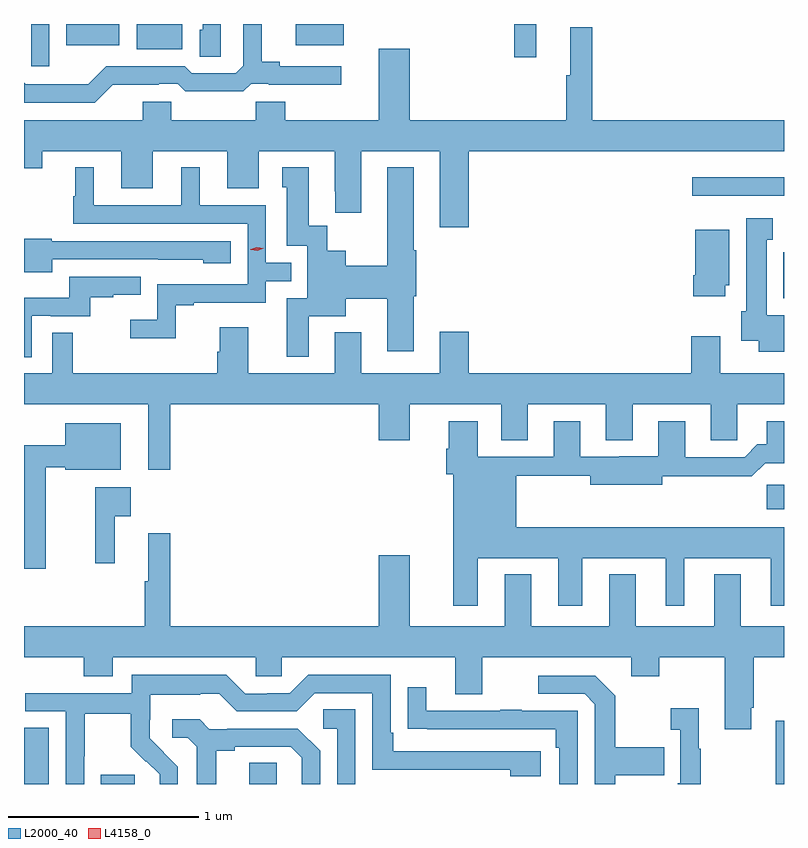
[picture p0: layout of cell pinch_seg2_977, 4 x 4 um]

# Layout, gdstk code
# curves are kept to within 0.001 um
import gdstk
lib = gdstk.Library(unit=1e-6, precision=1e-09)
def R(c, l, rs):  # rectangles x0, y0, x1, y1
    for r in rs: c.add(gdstk.rectangle(r[:2], r[2:], *l))
def P(c, l, *ps):  # polygons
    for p in ps: c.add(gdstk.Polygon(p, *l))
L2000_40 = (2000, 40)
L4158_0 = (4158, 0)

pinch_seg2_977 = lib.new_cell('pinch_seg2_977')
R(pinch_seg2_977, L2000_40, [(139.166,646.97,139.297,647.267), (139.571,646.97,139.75,647.019), (140.351,646.97,140.496,647.081), (143.122,646.97,143.166,647.302), (143.076,648.416,143.166,648.545), (143.162,649.526,143.166,649.768), (142.683,650.067,143.166,650.164), (139.203,650.748,139.299,650.97), (141.745,650.796,141.863,650.97), (139.76,650.837,139.999,650.97), (139.388,650.858,139.666,650.97), (140.597,650.858,140.848,650.97)])
P(pinch_seg2_977, L2000_40, [(140.202,650.97),(140.106,650.97),(140.106,650.94),(140.09,650.94),(140.09,650.797),(140.202,650.797)],
  [(139.634,650.651),(139.874,650.651),(139.874,650.655),(139.974,650.655),(140.014,650.616),(140.321,650.616),(140.361,650.655),(140.455,650.655),(140.455,650.651),(140.836,650.651),(140.836,650.748),(140.512,650.748),(140.512,650.771),(140.417,650.771),(140.417,650.97),(140.319,650.97),(140.319,650.751),(140.28,650.712),(140.049,650.712),(140.013,650.748),(139.599,650.748),(139.505,650.654),(139.4,650.654),(139.4,650.652),(139.176,650.652),(139.166,650.662),(139.166,650.556),(139.539,650.556)],
  [(141.506,650.3),(143.166,650.3),(143.166,650.464),(142.157,650.464),(142.157,650.953),(142.04,650.953),(142.04,650.7),(142.021,650.7),(142.021,650.464),(141.196,650.464),(141.196,650.839),(141.032,650.839),(141.032,650.464),(140.541,650.464),(140.541,650.562),(140.386,650.562),(140.386,650.464),(139.941,650.464),(139.941,650.562),(139.79,650.562),(139.79,650.464),(139.166,650.464),(139.166,650.21),(139.261,650.21),(139.261,650.3),(139.679,650.3),(139.679,650.106),(139.843,650.106),(139.843,650.3),(140.237,650.3),(140.237,650.106),(140.401,650.106),(140.401,650.3),(140.801,650.3),(140.801,650.089),(140.804,650.089),(140.804,649.977),(140.941,649.977),(140.941,650.3),(141.353,650.3),(141.353,649.899),(141.506,649.899)],
  [(140.665,649.433),(140.86,649.433),(140.86,649.525),(141.077,649.525),(141.077,649.248),(141.217,649.248),(141.217,649.536),(141.23,649.536),(141.23,649.78),(141.217,649.78),(141.217,650.215),(141.077,650.215),(141.077,649.697),(140.86,649.697),(140.86,649.777),(140.763,649.777),(140.763,649.907),(140.665,649.907),(140.665,650.215),(140.525,650.215),(140.525,650.112),(140.549,650.112),(140.549,649.803),(140.658,649.803),(140.658,649.527),(140.549,649.527),(140.549,649.218),(140.665,649.218)],
  [(139.965,649.491),(140.059,649.491),(140.059,649.503),(140.439,649.503),(140.439,649.617),(140.572,649.617),(140.572,649.713),(140.439,649.713),(140.439,650.016),(140.092,650.016),(140.092,650.215),(139.994,650.215),(139.994,650.016),(139.534,650.016),(139.534,650.215),(139.436,650.215),(139.436,650.064),(139.425,650.064),(139.425,649.92),(140.343,649.92),(140.343,649.599),(139.866,649.599),(139.866,649.414),(139.725,649.414),(139.725,649.316),(139.965,649.316)],
  [(143.166,649.438),(143.074,649.438),(143.074,649.835),(143.107,649.835),(143.107,649.948),(142.967,649.948),(142.967,649.458),(142.94,649.458),(142.94,649.304),(143.033,649.304),(143.033,649.244),(143.166,649.244)],
  [(142.858,649.596),(142.879,649.596),(142.879,649.888),(142.7,649.888),(142.7,649.648),(142.688,649.648),(142.688,649.536),(142.858,649.536)],
  [(139.315,649.731),(139.873,649.731),(139.873,649.73),(140.109,649.73),(140.109,649.712),(140.254,649.712),(140.254,649.827),(139.311,649.827),(139.311,649.84),(139.166,649.84),(139.166,649.664),(139.315,649.664)],
  [(139.206,649.434),(139.306,649.434),(139.306,649.431),(139.514,649.431),(139.514,649.533),(139.637,649.533),(139.637,649.544),(139.781,649.544),(139.781,649.641),(139.404,649.641),(139.404,649.529),(139.166,649.529),(139.166,649.217),(139.206,649.217)],
  [(141.032,648.78),(141.196,648.78),(141.196,648.968),(141.677,648.968),(141.677,648.778),(141.817,648.778),(141.817,648.968),(142.229,648.968),(142.229,648.779),(142.369,648.779),(142.369,648.968),(142.781,648.968),(142.781,648.778),(142.92,648.778),(142.92,648.968),(143.166,648.968),(143.166,649.132),(142.831,649.132),(142.831,649.327),(142.679,649.327),(142.679,649.132),(141.506,649.132),(141.506,649.351),(141.353,649.351),(141.353,649.132),(140.941,649.132),(140.941,649.348),(140.801,649.348),(140.801,649.132),(140.347,649.132),(140.347,649.375),(140.195,649.375),(140.195,649.245),(140.183,649.245),(140.183,649.132),(139.423,649.132),(139.423,649.346),(139.314,649.346),(139.314,649.132),(139.166,649.132),(139.166,648.968),(139.82,648.968),(139.82,648.624),(139.937,648.624),(139.937,648.968),(141.032,648.968)],
  [(141.553,648.158),(141.977,648.158),(141.977,647.907),(142.105,647.907),(142.105,648.158),(142.544,648.158),(142.544,647.907),(142.642,647.907),(142.642,648.158),(143.096,648.158),(143.096,647.907),(143.166,647.907),(143.166,648.322),(141.757,648.322),(141.757,648.592),(142.145,648.592),(142.145,648.545),(142.525,648.545),(142.525,648.59),(142.997,648.59),(143.066,648.659),(143.166,648.659),(143.166,648.88),(143.075,648.88),(143.075,648.757),(143.026,648.757),(142.959,648.69),(142.645,648.69),(142.645,648.88),(142.505,648.88),(142.505,648.694),(142.093,648.693),(142.093,648.88),(141.953,648.88),(141.953,648.693),(141.553,648.693),(141.553,648.88),(141.401,648.88),(141.401,648.734),(141.389,648.734),(141.389,648.6),(141.425,648.6),(141.425,647.907),(141.553,647.907)],
  [(139.28,648.638),(139.382,648.638),(139.382,648.623),(139.675,648.623),(139.675,648.868),(139.382,648.868),(139.382,648.752),(139.166,648.752),(139.166,648.102),(139.28,648.102)],
  [(139.643,648.38),(139.729,648.38),(139.729,648.532),(139.54,648.532),(139.54,648.132),(139.643,648.132)],
  [(142.993,647.371),(143.006,647.371),(143.006,647.636),(143.166,647.636),(143.166,647.8),(142.939,647.8),(142.939,648.073),(142.799,648.073),(142.799,647.8),(142.387,647.8),(142.387,648.073),(142.247,648.073),(142.247,647.8),(141.835,647.8),(141.835,648.073),(141.695,648.073),(141.695,647.8),(141.196,647.8),(141.196,648.175),(141.032,648.175),(141.032,647.8),(139.937,647.8),(139.937,648.289),(139.82,648.289),(139.82,648.036),(139.801,648.036),(139.801,647.8),(139.166,647.8),(139.166,647.636),(139.481,647.636),(139.481,647.537),(139.633,647.537),(139.633,647.636),(140.385,647.636),(140.385,647.538),(140.523,647.538),(140.523,647.636),(141.437,647.636),(141.437,647.442),(141.577,647.442),(141.577,647.636),(142.361,647.636),(142.361,647.537),(142.509,647.537),(142.509,647.636),(142.853,647.636),(142.853,647.259),(142.993,647.259)],
  [(139.482,647.116),(139.485,647.116),(139.485,647.34),(139.729,647.34),(139.729,647.165),(139.806,647.088),(139.809,647.091),(139.88,647.021),(139.88,646.97),(139.974,646.97),(139.974,647.062),(139.828,647.21),(139.828,647.307),(139.83,647.307),(139.83,647.441),(140.093,647.441),(140.093,647.445),(140.193,647.445),(140.286,647.352),(140.601,647.352),(140.697,647.448),(141,647.448),(141,647.046),(141.725,647.046),(141.725,647.012),(141.886,647.012),(141.886,647.142),(141.109,647.142),(141.109,647.239),(141.096,647.239),(141.096,647.544),(140.661,647.544),(140.565,647.448),(140.447,647.448),(140.447,647.445),(140.331,647.445),(140.231,647.545),(139.734,647.545),(139.734,647.448),(139.173,647.448),(139.173,647.352),(139.386,647.352),(139.386,646.97),(139.482,646.97)],
  [(142.279,647.015),(142.535,647.015),(142.535,647.163),(142.279,647.163),(142.279,647.435),(142.173,647.541),(141.873,647.541),(141.873,647.445),(142.116,647.445),(142.17,647.391),(142.17,646.97),(142.279,646.97)],
  [(142.08,647.355),(141.785,647.355),(141.785,647.36),(141.673,647.36),(141.673,647.355),(141.283,647.355),(141.283,647.479),(141.187,647.479),(141.187,647.26),(141.289,647.26),(141.289,647.259),(141.964,647.259),(141.964,647.162),(141.984,647.162),(141.984,646.97),(142.08,646.97)],
  [(142.729,647.155),(142.717,647.155),(142.717,647.368),(142.569,647.368),(142.569,647.255),(142.62,647.255),(142.62,646.975),(142.608,646.975),(142.608,646.97),(142.729,646.97)],
  [(140.91,647.363),(140.742,647.363),(140.742,647.262),(140.814,647.262),(140.814,646.97),(140.91,646.97)],
  [(140.179,647.144),(140.275,647.144),(140.275,647.166),(140.57,647.166),(140.627,647.109),(140.627,646.97),(140.724,646.97),(140.724,647.146),(140.608,647.262),(140.236,647.262),(140.236,647.259),(140.142,647.259),(140.09,647.311),(139.947,647.311),(139.947,647.214),(140.028,647.214),(140.075,647.167),(140.075,646.97),(140.179,646.97)])
P(pinch_seg2_977, L4158_0, [(140.394,649.776),(140.359,649.783),(140.358,649.784),(140.359,649.784),(140.392,649.796),(140.427,649.789),(140.427,649.789),(140.427,649.789)])

lib.write_gds('pinch_seg2_977.gds')
